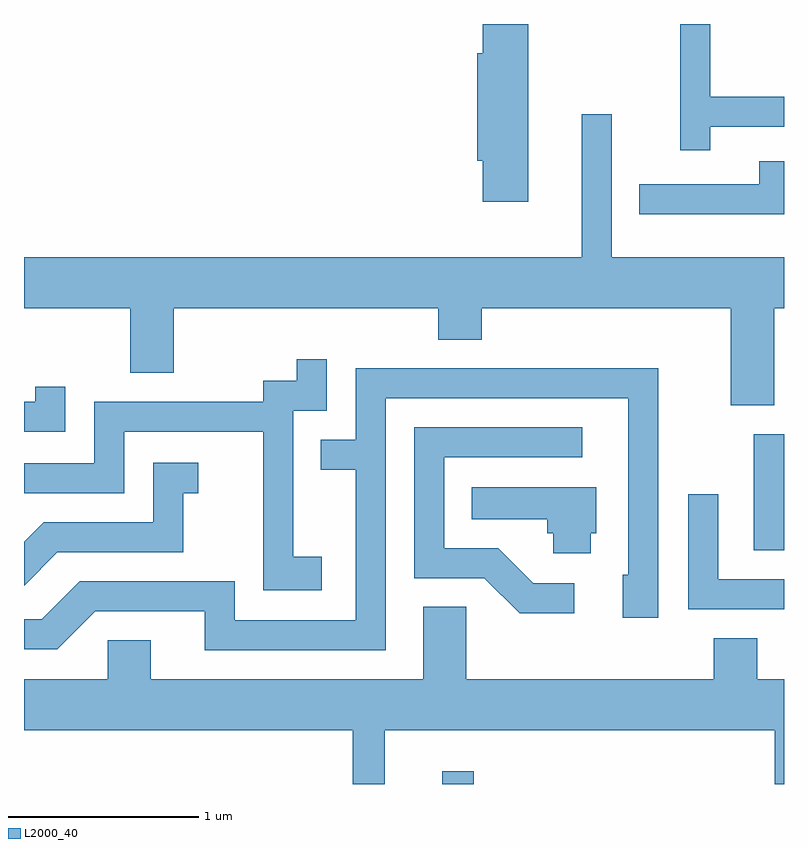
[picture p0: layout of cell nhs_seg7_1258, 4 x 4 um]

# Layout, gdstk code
import gdstk
lib = gdstk.Library(unit=1e-6, precision=1e-09)
def R(c, l, rs):  # rectangles x0, y0, x1, y1
    for r in rs: c.add(gdstk.rectangle(r[:2], r[2:], *l))
def P(c, l, *ps):  # polygons
    for p in ps: c.add(gdstk.Polygon(p, *l))
L2000_40 = (2000, 40)

nhs_seg7_1258 = lib.new_cell('nhs_seg7_1258')
R(nhs_seg7_1258, L2000_40, [(225.811,1716.252,225.979,1716.318), (227.451,1717.481,227.611,1718.094)])
P(nhs_seg7_1258, L2000_40, [(226.264,1720.252),(226.026,1720.252),(226.026,1720.099),(225.996,1720.099),(225.996,1719.531),(226.026,1719.531),(226.026,1719.316),(226.264,1719.316)],
  [(227.224,1719.711),(227.611,1719.711),(227.611,1719.869),(227.224,1719.869),(227.224,1720.252),(227.066,1720.252),(227.066,1719.588),(227.224,1719.588)],
  [(227.559,1718.756),(227.611,1718.756),(227.611,1719.024),(226.704,1719.024),(226.704,1719.778),(226.546,1719.778),(226.546,1719.024),(223.611,1719.024),(223.611,1718.756),(224.171,1718.756),(224.171,1718.416),(224.399,1718.416),(224.399,1718.756),(225.791,1718.756),(225.791,1718.591),(226.019,1718.591),(226.019,1718.756),(227.331,1718.756),(227.331,1718.246),(227.559,1718.246)],
  [(227.611,1719.529),(227.481,1719.529),(227.481,1719.409),(226.848,1719.409),(226.848,1719.251),(227.611,1719.251)],
  [(225.179,1717.449),(225.029,1717.449),(225.029,1718.216),(225.204,1718.216),(225.204,1718.488),(225.046,1718.488),(225.046,1718.374),(224.871,1718.374),(224.871,1718.264),(223.981,1718.264),(223.981,1717.939),(223.611,1717.939),(223.611,1717.781),(224.139,1717.781),(224.139,1718.106),(224.871,1718.106),(224.871,1717.271),(225.179,1717.271)],
  [(225.514,1718.281),(226.791,1718.281),(226.791,1717.354),(226.761,1717.354),(226.761,1717.126),(226.949,1717.126),(226.949,1718.439),(225.356,1718.439),(225.356,1718.064),(225.173,1718.064),(225.173,1717.906),(225.356,1717.906),(225.356,1717.114),(224.719,1717.114),(224.719,1717.319),(223.904,1717.319),(223.704,1717.119),(223.611,1717.119),(223.611,1716.961),(223.787,1716.961),(223.987,1717.161),(224.561,1717.161),(224.561,1716.956),(225.514,1716.956)],
  [(223.829,1718.343),(223.671,1718.343),(223.671,1718.264),(223.611,1718.264),(223.611,1718.106),(223.829,1718.106)],
  [(226.508,1717.309),(226.292,1717.309),(226.107,1717.494),(225.824,1717.494),(225.824,1717.971),(226.548,1717.971),(226.548,1718.129),(225.666,1718.129),(225.666,1717.336),(226.034,1717.336),(226.219,1717.151),(226.508,1717.151)],
  [(223.787,1717.471),(224.449,1717.471),(224.449,1717.781),(224.528,1717.781),(224.528,1717.944),(224.291,1717.944),(224.291,1717.629),(223.714,1717.629),(223.611,1717.526),(223.611,1717.296),(223.612,1717.296)],
  [(226.594,1717.571),(226.624,1717.571),(226.624,1717.814),(225.968,1717.814),(225.968,1717.646),(226.366,1717.646),(226.366,1717.571),(226.396,1717.571),(226.396,1717.466),(226.594,1717.466)],
  [(227.611,1717.329),(227.264,1717.329),(227.264,1717.778),(227.106,1717.778),(227.106,1717.171),(227.611,1717.171)],
  [(225.509,1716.536),(227.561,1716.536),(227.561,1716.252),(227.611,1716.252),(227.611,1716.804),(227.469,1716.804),(227.469,1717.019),(227.241,1717.019),(227.241,1716.804),(225.939,1716.804),(225.939,1717.184),(225.711,1717.184),(225.711,1716.804),(224.279,1716.804),(224.279,1717.009),(224.051,1717.009),(224.051,1716.804),(223.611,1716.804),(223.611,1716.536),(225.341,1716.536),(225.341,1716.252),(225.509,1716.252)])

lib.write_gds('nhs_seg7_1258.gds')
